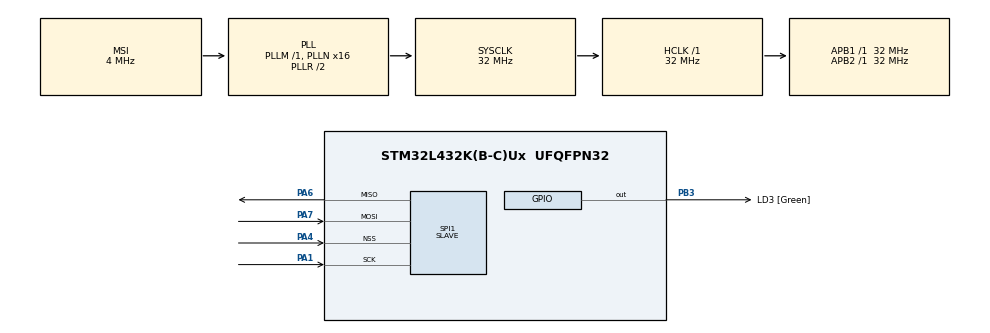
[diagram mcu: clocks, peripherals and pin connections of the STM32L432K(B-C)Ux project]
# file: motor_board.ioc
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Dma.Request0=SPI1_RX
Dma.Request1=SPI1_TX
Dma.SPI1_RX.0.Direction=DMA_PERIPH_TO_MEMORY
Dma.SPI1_RX.0.Instance=DMA1_Channel2
Dma.SPI1_RX.0.MemDataAlignment=DMA_MDATAALIGN_BYTE
Dma.SPI1_RX.0.MemInc=DMA_MINC_ENABLE
Dma.SPI1_RX.0.Mode=DMA_CIRCULAR
Dma.SPI1_RX.0.PeriphDataAlignment=DMA_PDATAALIGN_BYTE
Dma.SPI1_RX.0.PeriphInc=DMA_PINC_DISABLE
Dma.SPI1_RX.0.Priority=DMA_PRIORITY_VERY_HIGH
Dma.SPI1_TX.1.Direction=DMA_MEMORY_TO_PERIPH
Dma.SPI1_TX.1.Instance=DMA1_Channel3
Dma.SPI1_TX.1.MemDataAlignment=DMA_MDATAALIGN_BYTE
Dma.SPI1_TX.1.MemInc=DMA_MINC_ENABLE
Dma.SPI1_TX.1.Mode=DMA_NORMAL
Dma.SPI1_TX.1.PeriphDataAlignment=DMA_PDATAALIGN_BYTE
Dma.SPI1_TX.1.PeriphInc=DMA_PINC_DISABLE
Dma.SPI1_TX.1.Priority=DMA_PRIORITY_LOW
FREERTOS.Queues01=spiQueue,16,16,1,Static,spiQueueBuffer,spiQueueControlBlock
FREERTOS.Tasks01=defaultTask,24,128,StartDefaultTask,Default,NULL,Dynamic,NULL,NULL;processSPI,48,128,processSPIHandler,Default,NULL,Dynamic,NULL,NULL
FREERTOS.configUSE_NEWLIB_REENTRANT=1
Mcu.Family=STM32L4
Mcu.Name=STM32L432K(B-C)Ux
Mcu.Package=UFQFPN32
NVIC.DMA1_Channel2_IRQn=true\:5\:0\:false\:false\:true\:true\:false\:true\:true
NVIC.DMA1_Channel3_IRQn=true\:5\:0\:false\:false\:true\:true\:false\:true\:true
NVIC.PriorityGroup=NVIC_PRIORITYGROUP_4
NVIC.SPI1_IRQn=true\:5\:0\:false\:false\:true\:true\:true\:true\:true
NVIC.TIM1_UP_TIM16_IRQn=true\:15\:0\:false\:false\:true\:false\:false\:true\:true
NVIC.TimeBase=TIM1_UP_TIM16_IRQn
NVIC.TimeBaseIP=TIM1
PA0.GPIO_Label=MCO [High speed clock in]
PA0.Mode=HSE-External-Clock-Source-for-LittleOrca
PA0.Signal=RCC_CK_IN
PA1.Mode=Full_Duplex_Slave
PA1.Signal=SPI1_SCK
PA13\ (JTMS-SWDIO).GPIO_Label=SWDIO
PA13\ (JTMS-SWDIO).Mode=Serial_Wire
PA13\ (JTMS-SWDIO).Signal=SYS_JTMS-SWDIO
PA14\ (JTCK-SWCLK).GPIO_Label=SWCLK
PA14\ (JTCK-SWCLK).Mode=Serial_Wire
PA14\ (JTCK-SWCLK).Signal=SYS_JTCK-SWCLK
PA15\ (JTDI).GPIO_Label=VCP_RX
PA15\ (JTDI).Signal=USART2_RX
PA2.GPIO_Label=VCP_TX
PA2.Signal=USART2_TX
PA4.Mode=NSS_Signal_Hard_Input
PA4.Signal=SPI1_NSS
PA6.Mode=Full_Duplex_Slave
PA6.Signal=SPI1_MISO
PA7.Mode=Full_Duplex_Slave
PA7.Signal=SPI1_MOSI
PB3\ (JTDO-TRACESWO).GPIO_Label=LD3 [Green]
PB3\ (JTDO-TRACESWO).Signal=GPIO_Output
PC14-OSC32_IN\ (PC14).Mode=LSE-External-Oscillator
PC14-OSC32_IN\ (PC14).Signal=RCC_OSC32_IN
PC15-OSC32_OUT\ (PC15).Mode=LSE-External-Oscillator
PC15-OSC32_OUT\ (PC15).Signal=RCC_OSC32_OUT
ProjectManager.HeapSize=0x200
ProjectManager.StackSize=0x400
ProjectManager.TargetToolchain=CMake
RCC.AHBFreq_Value=32000000
RCC.APB1Freq_Value=32000000
RCC.APB1TimFreq_Value=32000000
RCC.APB2Freq_Value=32000000
RCC.APB2TimFreq_Value=32000000
RCC.CortexFreq_Value=32000000
RCC.HCLKFreq_Value=32000000
RCC.HSE_VALUE=8000000
RCC.HSI16_VALUE=16000000
RCC.HSI48_VALUE=48000000
RCC.HSI_VALUE=16000000
RCC.MSI_VALUE=4000000
RCC.PLLMUL=RCC_PLLMUL_4
RCC.PLLN=16
RCC.SYSCLKFreq_VALUE=32000000
RCC.SYSCLKSource=RCC_SYSCLKSOURCE_PLLCLK
RCC.VCOOutputFreq_Value=64000000
SPI1.DataSize=SPI_DATASIZE_8BIT
SPI1.Direction=SPI_DIRECTION_2LINES
SPI1.FirstBit=SPI_FIRSTBIT_MSB
SPI1.Mode=SPI_MODE_SLAVE
SPI1.VirtualNSS=VM_NSSHARD
SPI1.VirtualType=VM_SLAVE
VP_FREERTOS_VS_CMSIS_V2.Mode=CMSIS_V2
VP_SYS_VS_tim1.Mode=TIM1
board=NUCLEO-L432KC

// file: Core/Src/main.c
/* USER CODE BEGIN Header */
/**
  ******************************************************************************
  * @file           : main.c
  * @brief          : Main program body
  ******************************************************************************
  * @attention
  *
  * Copyright (c) 2025 STMicroelectronics.
  * All rights reserved.
  *
  * This software is licensed under terms that can be found in the LICENSE file
  * in the root directory of this software component.
  * If no LICENSE file comes with this software, it is provided AS-IS.
  *
  ******************************************************************************
  */
/* USER CODE END Header */
#include "main.h"
#include "cmsis_os.h"
#include "dma.h"
#include "spi.h"
#include "gpio.h"

/* USER CODE BEGIN PV */
osMessageQueueId_t spiQueueHandle;
SPI_HandleTypeDef hspi1;
uint16_t remotePWMTXBuffer[2];
uint16_t remotePWMRXBuffer[2];
/* USER CODE END PV */

void SystemClock_Config(void);
void MX_FREERTOS_Init(void);

/* USER CODE BEGIN 0 */
enum {
	TRANSFER_WAIT,
	TRANSFER_COMPLETE,
	TRANSFER_ERROR
};
/* USER CODE END 0 */

int main(void)
{

  /* MCU Configuration--------------------------------------------------------*/

  /* Reset of all peripherals, Initializes the Flash interface and the Systick. */
  HAL_Init();

  /* Configure the system clock */
  SystemClock_Config();

  /* Initialize all configured peripherals */
  MX_GPIO_Init();
  MX_DMA_Init();
  MX_SPI1_Init();

  /* Init scheduler */
  osKernelInitialize();

  /* Call init function for freertos objects (in cmsis_os2.c) */
  MX_FREERTOS_Init();

  /* Start scheduler */
  osKernelStart();

  /* We should never get here as control is now taken by the scheduler */

  /* Infinite loop */
  while (1)
  {

  }
}

void SystemClock_Config(void)
{
  RCC_OscInitTypeDef RCC_OscInitStruct = {0};
  RCC_ClkInitTypeDef RCC_ClkInitStruct = {0};

  /** Configure the main internal regulator output voltage
  */
  if (HAL_PWREx_ControlVoltageScaling(PWR_REGULATOR_VOLTAGE_SCALE1) != HAL_OK)
  {
    Error_Handler();
  }

  /** Configure LSE Drive Capability
  */
  HAL_PWR_EnableBkUpAccess();
  __HAL_RCC_LSEDRIVE_CONFIG(RCC_LSEDRIVE_LOW);

  /** Initializes the RCC Oscillators according to the specified parameters
  * in the RCC_OscInitTypeDef structure.
  */
  RCC_OscInitStruct.OscillatorType = RCC_OSCILLATORTYPE_LSE|RCC_OSCILLATORTYPE_MSI;
  RCC_OscInitStruct.LSEState = RCC_LSE_ON;
  RCC_OscInitStruct.MSIState = RCC_MSI_ON;
  RCC_OscInitStruct.MSICalibrationValue = 0;
  RCC_OscInitStruct.MSIClockRange = RCC_MSIRANGE_6;
  RCC_OscInitStruct.PLL.PLLState = RCC_PLL_ON;
  RCC_OscInitStruct.PLL.PLLSource = RCC_PLLSOURCE_MSI;
  RCC_OscInitStruct.PLL.PLLM = 1;
  RCC_OscInitStruct.PLL.PLLN = 16;
  RCC_OscInitStruct.PLL.PLLP = RCC_PLLP_DIV7;
  RCC_OscInitStruct.PLL.PLLQ = RCC_PLLQ_DIV2;
  RCC_OscInitStruct.PLL.PLLR = RCC_PLLR_DIV2;
  if (HAL_RCC_OscConfig(&RCC_OscInitStruct) != HAL_OK)
  {
    Error_Handler();
  }

  /** Initializes the CPU, AHB and APB buses clocks
  */
  RCC_ClkInitStruct.ClockType = RCC_CLOCKTYPE_HCLK|RCC_CLOCKTYPE_SYSCLK
                              |RCC_CLOCKTYPE_PCLK1|RCC_CLOCKTYPE_PCLK2;
  RCC_ClkInitStruct.SYSCLKSource = RCC_SYSCLKSOURCE_PLLCLK;
  RCC_ClkInitStruct.AHBCLKDivider = RCC_SYSCLK_DIV1;
  RCC_ClkInitStruct.APB1CLKDivider = RCC_HCLK_DIV1;
  RCC_ClkInitStruct.APB2CLKDivider = RCC_HCLK_DIV1;

  if (HAL_RCC_ClockConfig(&RCC_ClkInitStruct, FLASH_LATENCY_1) != HAL_OK)
  {
    Error_Handler();
  }

  /** Enable MSI Auto calibration
  */
  HAL_RCCEx_EnableMSIPLLMode();
}

void HAL_TIM_PeriodElapsedCallback(TIM_HandleTypeDef *htim)
{
  if (htim->Instance == TIM1)
  {
    HAL_IncTick();
  }
}

void Error_Handler(void)
{
  __disable_irq();
  while (1)
  {
  }
}

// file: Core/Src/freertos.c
/* USER CODE BEGIN Header */
/**
  ******************************************************************************
  * File Name          : freertos.c
  * Description        : Code for freertos applications
  ******************************************************************************
  * @attention
  *
  * Copyright (c) 2025 STMicroelectronics.
  * All rights reserved.
  *
  * This software is licensed under terms that can be found in the LICENSE file
  * in the root directory of this software component.
  * If no LICENSE file comes with this software, it is provided AS-IS.
  *
  ******************************************************************************
  */
/* USER CODE END Header */

#include "FreeRTOS.h"
#include "task.h"
#include "main.h"
#include "cmsis_os.h"

/* USER CODE BEGIN Includes */
#include <stdio.h>
/* USER CODE END Includes */

typedef StaticQueue_t osStaticMessageQDef_t;

/* USER CODE BEGIN Variables */
extern uint16_t remotePWMTXBuffer[2];
extern uint16_t remotePWMRXBuffer[2];
extern SPI_HandleTypeDef hspi1;
/* USER CODE END Variables */
/* Definitions for defaultTask */
osThreadId_t defaultTaskHandle;
const osThreadAttr_t defaultTask_attributes = {
  .name = "defaultTask",
  .stack_size = 128 * 4,
  .priority = (osPriority_t) osPriorityNormal,
};
/* Definitions for processSPI */
osThreadId_t processSPIHandle;
const osThreadAttr_t processSPI_attributes = {
  .name = "processSPI",
  .stack_size = 128 * 4,
  .priority = (osPriority_t) osPriorityRealtime,
};
/* Definitions for spiQueue */
extern osMessageQueueId_t spiQueueHandle;
uint16_t spiQueueBuffer[2];
osStaticMessageQDef_t spiQueueControlBlock;
const osMessageQueueAttr_t spiQueue_attributes = {
  .name = "spiQueue",
  .cb_mem = &spiQueueControlBlock,
  .cb_size = sizeof(spiQueueControlBlock),
  .mq_mem = &spiQueueBuffer,
  .mq_size = sizeof(spiQueueBuffer)
};

void StartDefaultTask(void *argument);
void processSPIHandler(void *argument);

void MX_FREERTOS_Init(void); /* (MISRA C 2004 rule 8.1) */

void MX_FREERTOS_Init(void) {

  /* Create the queue(s) */
  /* creation of spiQueue */
  spiQueueHandle = osMessageQueueNew (16, 16, &spiQueue_attributes);

  /* Create the thread(s) */
  /* creation of defaultTask */
  defaultTaskHandle = osThreadNew(StartDefaultTask, NULL, &defaultTask_attributes);

  /* creation of processSPI */
  processSPIHandle = osThreadNew(processSPIHandler, NULL, &processSPI_attributes);

  HAL_SPI_TransmitReceive_DMA(&hspi1, remotePWMTXBuffer, remotePWMRXBuffer, 16);
}

void StartDefaultTask(void *argument)
{
  for(;;)
  {
    osDelay(1);
  }
}

void processSPIHandler(void *argument)
{
  /* USER CODE BEGIN processSPIHandler */
  uint16_t rxBuffer[2];
  for (;;) {
	  // Wait until data arrives from ISR
	  if (xQueueReceive(spiQueueHandle, rxBuffer, portMAX_DELAY) == pdPASS) {
		  // Process dat

	  }
	  HAL_SPI_TransmitReceive_DMA(&hspi1, remotePWMTXBuffer, remotePWMRXBuffer, 16);
  }
  /* USER CODE END processSPIHandler */
}

/* USER CODE BEGIN Application */
/* USER CODE BEGIN 1 */
/* USER CODE END Application */
